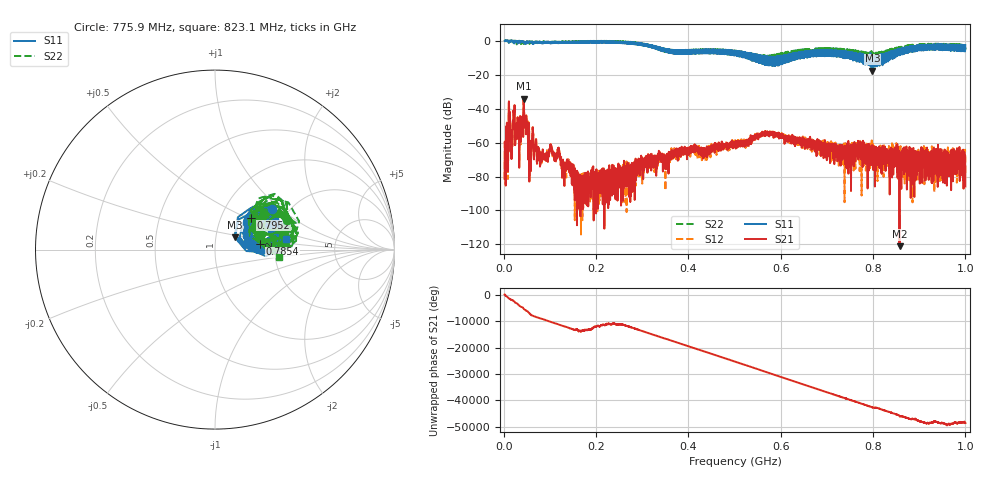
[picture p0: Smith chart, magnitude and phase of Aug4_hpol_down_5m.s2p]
!Keysight Technologies N9923A: A.12.45
!Date: Tuesday, 05 August 2025 18:01:08
!Timezone: (UTC+08:00) Kuala Lumpur, Singapore
!Model: N9923A
!Serial: MY61181427
!GPS Latitude:
!GPS Longitude:
!GPS TimeStamp: 0001-01-01 00:00:00Z
!GPS Seconds Since Last Read: 0
!CHECKSUM:0584122966
!Correction: S11(ON U)S21(ON U)S12(ON U)S22(ON U)
!S2P File: Measurements:S11,S21,S12,S22:
# Hz S DB R 50
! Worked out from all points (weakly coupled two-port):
!   4001 points, 2 MHz to 1 GHz, reference 50 ohm
!   highest |S21| = -34.17 dB at 43.17 MHz (marker M1); lowest = -121.0 dB at 857.3 MHz (marker M2)
!   lowest |S11| = -17.7 dB at 798.7 MHz (marker M3), VSWR 1.30, Z = 61.7 + j8.58 ohm
!   |S11| at or under -10 dB: 558.852 MHz to 559.8997 MHz (1.048 MHz wide, 0.187 % of centre); 565.5245 MHz to 566.7411 MHz (1.217 MHz wide, 0.215 % of centre); 584.0544 MHz to 585.3668 MHz (1.312 MHz wide, 0.224 % of centre)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
!   |S22| runs from -13.6 to 0.1 dB; largest |S21 - S12| = 0.0013
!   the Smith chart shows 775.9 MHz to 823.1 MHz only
!   S11 on the Smith chart (normalised r, x): 775.9 MHz: 1.64, +0.88; 785.4 MHz: 1.66, +0.11; 795.2 MHz: 1.39, +0.53; 823.1 MHz: 2.29, +0.32
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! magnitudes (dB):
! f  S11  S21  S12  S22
! 2 MHz  -0.1  -81.3  -81.4  -0.1
! 9.735 MHz  -0.1  -62.1  -64.7  0.0
! 43.17 MHz  -0.8  -34.2  -34.1  -1.5
! 47.41 MHz  -1.8  -50.0  -49.5  -0.9
! 57.14 MHz  -0.7  -60.1  -60.7  -0.8
! 76.35 MHz  -1.2  -64.2  -64.9  -1.2
! 103.8 MHz  -0.9  -63.4  -62.7  -0.7
! 168.4 MHz  -1.2  -83.0  -81.5  -0.9
! 276.2 MHz  -1.6  -75.3  -78.7  -1.6
! 334.8 MHz  -4.4  -66.7  -69.0  -5.1
! 501 MHz  -6.6  -61.3  -61.5  -7.4
! 572.6 MHz  -12.6  -54.3  -54.7  -9.3
! 667.4 MHz  -8.8  -59.8  -65.4  -7.5
! 775.9 MHz  -8.1  -69.3  -66.8  -7.3
! 785.4 MHz  -12.0  -64.6  -62.1  -11.6
! 795.2 MHz  -11.4  -70.4  -68.8  -8.9
! 798.7 MHz  -17.7  -64.4  -63.8  -8.8
! 823.1 MHz  -7.9  -63.6  -66.0  -8.8
! 833.8 MHz  -9.1  -66.1  -70.9  -5.5
! 857.3 MHz  -6.1  -121.0  -68.7  -3.7
! 990.3 MHz  -4.0  -69.5  -67.8  -2.6
! 1 GHz  -2.8  -85.8  -79.2  -4.0
